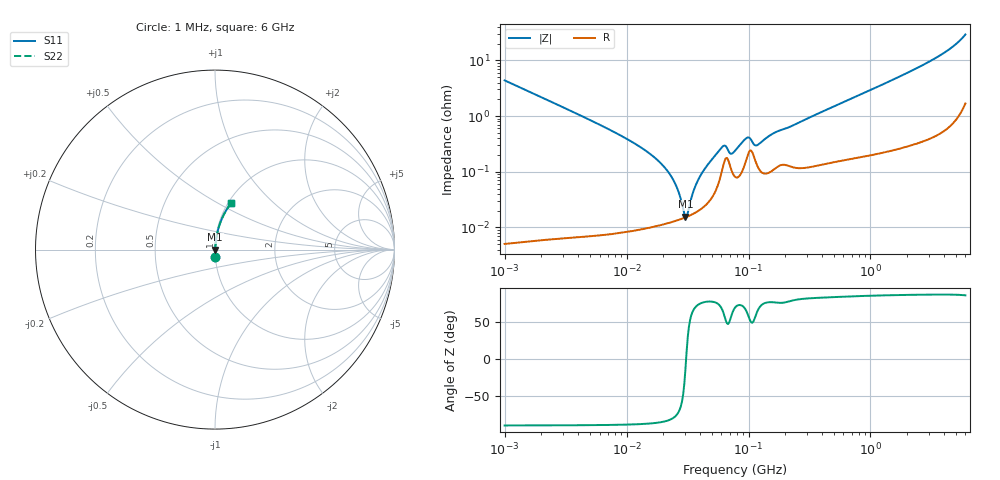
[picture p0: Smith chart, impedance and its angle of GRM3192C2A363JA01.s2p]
!Murata Part Number: GRM3192C2A363JA01
!These Parameters are Measured in Series Mode Connection
!Data Generated on Mar 30, 2021
!  o--ll--o
!Port1  Port2
!  o------o
!Operation Temp=25[degC], DC Bias Voltage=0[V]
!Freq. Start=1000[kHz] Stop=6[GHz] 401[Steps]
# Hz S RI R 50
!Freq.(Hz) S11(Real) S11(Imag) S21(Real) S21(Imag) S12(Real) S12(Imag) S22(Real) S22(Imag)
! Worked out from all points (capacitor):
!   401 points, 1 MHz to 6 GHz, reference 50 ohm
!   read as one part in series: C = 36.3 nF near 1.044 MHz
!   lowest |Z| = 15.6 mohm at 30.4 MHz (marker M1)
!   series resonance near 30.77 MHz, so ESL is about 740 pH
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1000000  0.00196 -0.0437  0.998 0.0437  0.998 0.0437  0.00196 -0.0437
4293785  0.000168 -0.00999  0.9998 0.00999  0.9998 0.00999  0.000168 -0.00999
1.093935e7  9.8e-05 -0.00349  0.9999 0.00349  0.9999 0.00349  9.8e-05 -0.00349
1.843659e7  0.000111 -0.00153  0.9999 0.00153  0.9999 0.00153  0.000111 -0.00153
2.44608e7  0.000129 -0.000666  0.9999 0.000666  0.9999 0.000666  0.000129 -0.000666
2.668407e7  0.000137 -0.000413  0.9999 0.000413  0.9999 0.000413  0.000137 -0.000413
2.910942e7  0.000146 -0.000161  0.9999 0.000161  0.9999 0.000161  0.000146 -0.000161
3.040356e7  0.000152 -3.49e-05  0.9998 3.49e-05  0.9998 3.49e-05  0.000152 -3.49e-05
3.175522e7  0.000158 9.21e-05  0.9998 -9.21e-05  0.9998 -9.21e-05  0.000158 9.21e-05
3.540316e7  0.000177 0.000416  0.9998 -0.000416  0.9998 -0.000416  0.000177 0.000416
3.779011e7  0.000192 0.000617  0.9998 -0.000617  0.9998 -0.000617  0.000192 0.000617
4.800399e7  0.000304 0.00145  0.9997 -0.00145  0.9997 -0.00145  0.000304 0.00145
6.23192e7  0.00134 0.00259  0.9987 -0.00259  0.9987 -0.00259  0.00134 0.00259
7.100585e7  0.00123 0.00172  0.9988 -0.00172  0.9988 -0.00172  0.00123 0.00172
7.745967e7  0.000818 0.00223  0.9992 -0.00223  0.9992 -0.00223  0.000818 0.00223
9.627852e7  0.00172 0.00364  0.9983 -0.00364  0.9983 -0.00364  0.00172 0.00364
1.170949e8  0.00134 0.00266  0.9987 -0.00266  0.9987 -0.00266  0.00134 0.00266
1.622626e8  0.00113 0.00485  0.9989 -0.00485  0.9989 -0.00485  0.00113 0.00485
3.325952e8  0.00133 0.00983  0.9987 -0.00983  0.9987 -0.00983  0.00133 0.00983
1.428092e9  0.00408 0.0417  0.9959 -0.0417  0.9959 -0.0417  0.00408 0.0417
3.5601e9  0.0176 0.1134  0.9824 -0.1134  0.9824 -0.1134  0.0176 0.1134
6e9  0.0911 0.2603  0.9089 -0.2603  0.9089 -0.2603  0.0911 0.2603
